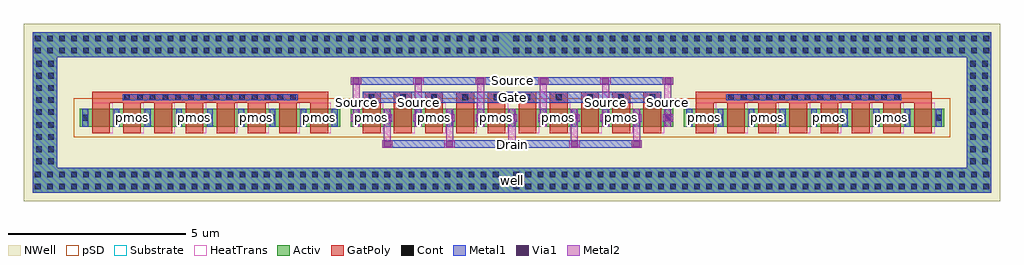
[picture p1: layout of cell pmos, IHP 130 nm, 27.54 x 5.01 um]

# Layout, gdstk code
import gdstk
lib = gdstk.Library(unit=1e-6, precision=1e-09)
def R(c, l, rs):  # rectangles x0, y0, x1, y1
    for r in rs: c.add(gdstk.rectangle(r[:2], r[2:], *l))
def A(c, l, x, y, w, h, nx, ny, dx, dy):  # array of equal rectangles
    R(c, l, [(x+i*dx, y+j*dy, x+i*dx+w, y+j*dy+h) for i in range(nx) for j in range(ny)])
def P(c, l, *ps):  # polygons
    for p in ps: c.add(gdstk.Polygon(p, *l))
Activ = (1, 0)
GatPoly = (5, 0)
Cont = (6, 0)
Metal1 = (8, 0)
Metal2 = (10, 0)
pSD = (14, 0)
Via1 = (19, 0)
NWell = (31, 0)
Substrate = (40, 0)
HeatTrans = (51, 0)

pmos = lib.new_cell('pmos')
A(pmos, Activ, -7.64, 0, 1.18, 0.5, 8, 1, 0.88, 0)
A(pmos, Activ, 0, 0, 0.3, 0.3, 11, 1, 0.88, 0)
A(pmos, Activ, 9.4, 0, 1.18, 0.5, 8, 1, 0.88, 0)
R(pmos, Activ, [(-8.98,-1.865,18.08,-1.165), (-8.98,-1.165,-8.28,1.965), (17.38,-1.165,18.08,1.965), (-7.64,0,-7.34,0.3), (-6.76,0,-6.46,0.3), (-6.76,0,-6.46,0.3), (-5.88,0,-5.58,0.3), (-5.88,0,-5.58,0.3), (-5,0,-4.7,0.3), (-5,0,-4.7,0.3), (-4.12,0,-3.82,0.3), (-4.12,0,-3.82,0.3), (-3.24,0,-2.94,0.3), (-3.24,0,-2.94,0.3), (-2.36,0,-2.06,0.3), (-2.36,0,-2.06,0.3), (-1.48,0,-1.18,0.3), (-1.48,0,-1.18,0.3), (-0.6,0,-0.3,0.3), (0,0,9.1,0.5), (9.4,0,9.7,0.3), (10.28,0,10.58,0.3), (10.28,0,10.58,0.3), (11.16,0,11.46,0.3), (11.16,0,11.46,0.3), (12.04,0,12.34,0.3), (12.04,0,12.34,0.3), (12.92,0,13.22,0.3), (12.92,0,13.22,0.3), (13.8,0,14.1,0.3), (13.8,0,14.1,0.3), (14.68,0,14.98,0.3), (14.68,0,14.98,0.3), (15.56,0,15.86,0.3), (15.56,0,15.86,0.3), (16.44,0,16.74,0.3)])
P(pmos, Activ, [(-8.98,-1.865),(-8.98,1.965),(-8.28,1.965),(-8.28,-1.165),(17.38,-1.165),(17.38,1.965),(-8.98,1.965),(-8.98,2.665),(18.08,2.665),(18.08,-1.865)])
A(pmos, GatPoly, -7.3, -0.18, 0.5, 0.86, 8, 1, 0.88, 0)
A(pmos, GatPoly, 0.34, -0.18, 0.5, 0.86, 10, 1, 0.88, 0)
A(pmos, GatPoly, 9.74, -0.18, 0.5, 0.86, 8, 1, 0.88, 0)
A(pmos, GatPoly, 0.34, 0.68, 0.5, 0.3, 10, 1, 0.88, 0)
R(pmos, GatPoly, [(-7.3,0.68,-0.64,0.98), (-6.63,0.68,-1.31,0.98), (9.74,0.68,16.4,0.98), (10.41,0.68,15.73,0.98)])
A(pmos, Cont, -8.91, -1.765, 0.16, 0.16, 39, 2, 0.34, 0.34)
A(pmos, Cont, 4.59, -1.765, 0.16, 0.16, 40, 2, 0.34, 0.34)
A(pmos, Cont, -8.88, -1.055, 0.16, 0.16, 1, 4, 0, 0.34)
A(pmos, Cont, -8.54, -1.055, 0.16, 0.16, 1, 4, 0, 0.34)
A(pmos, Cont, 17.48, -1.055, 0.16, 0.16, 1, 4, 0, 0.34)
A(pmos, Cont, 17.82, -1.055, 0.16, 0.16, 1, 4, 0, 0.34)
A(pmos, Cont, 0.07, 0.17, 0.16, 0.16, 11, 1, 0.88, 0)
A(pmos, Cont, -8.88, 0.335, 0.16, 0.16, 1, 5, 0, 0.34)
A(pmos, Cont, -8.54, 0.335, 0.16, 0.16, 1, 5, 0, 0.34)
A(pmos, Cont, 17.48, 0.335, 0.16, 0.16, 1, 5, 0, 0.34)
A(pmos, Cont, 17.82, 0.335, 0.16, 0.16, 1, 5, 0, 0.34)
A(pmos, Cont, -6.39, 0.75, 0.16, 0.16, 14, 1, 0.36, 0)
A(pmos, Cont, 0.51, 0.75, 0.16, 0.16, 10, 1, 0.88, 0)
A(pmos, Cont, 10.65, 0.75, 0.16, 0.16, 14, 1, 0.36, 0)
A(pmos, Cont, -8.91, 2.065, 0.16, 0.16, 39, 2, 0.34, 0.34)
A(pmos, Cont, 4.59, 2.065, 0.16, 0.16, 40, 2, 0.34, 0.34)
R(pmos, Cont, [(-7.57,0.17,-7.41,0.33), (-6.69,0.17,-6.53,0.33), (-6.69,0.17,-6.53,0.33), (-5.81,0.17,-5.65,0.33), (-5.81,0.17,-5.65,0.33), (-4.93,0.17,-4.77,0.33), (-4.93,0.17,-4.77,0.33), (-4.05,0.17,-3.89,0.33), (-4.05,0.17,-3.89,0.33), (-3.17,0.17,-3.01,0.33), (-3.17,0.17,-3.01,0.33), (-2.29,0.17,-2.13,0.33), (-2.29,0.17,-2.13,0.33), (-1.41,0.17,-1.25,0.33), (-1.41,0.17,-1.25,0.33), (-0.53,0.17,-0.37,0.33), (9.47,0.17,9.63,0.33), (10.35,0.17,10.51,0.33), (10.35,0.17,10.51,0.33), (11.23,0.17,11.39,0.33), (11.23,0.17,11.39,0.33), (12.11,0.17,12.27,0.33), (12.11,0.17,12.27,0.33), (12.99,0.17,13.15,0.33), (12.99,0.17,13.15,0.33), (13.87,0.17,14.03,0.33), (13.87,0.17,14.03,0.33), (14.75,0.17,14.91,0.33), (14.75,0.17,14.91,0.33), (15.63,0.17,15.79,0.33), (15.63,0.17,15.79,0.33), (16.51,0.17,16.67,0.33)])
A(pmos, Metal1, 0.885, -0.595, 0.29, 0.21, 5, 1, 1.76, 0)
A(pmos, Metal1, 0.07, 0, 0.16, 0.5, 11, 1, 0.88, 0)
A(pmos, Metal1, 0.005, 0.145, 0.29, 0.21, 11, 1, 0.88, 0)
A(pmos, Metal1, 0.46, 0.75, 0.26, 0.16, 10, 1, 0.88, 0)
A(pmos, Metal1, 0.005, 1.185, 0.29, 0.21, 6, 1, 1.76, 0)
R(pmos, Metal1, [(-8.98,-1.865,18.08,-1.165), (-8.98,-1.165,-8.28,1.965), (17.38,-1.165,18.08,1.965), (0.93,-0.59,8.17,-0.39), (-7.57,0,-7.41,0.5), (-6.69,0,-6.53,0.5), (-6.69,0,-6.53,0.5), (-5.81,0,-5.65,0.5), (-5.81,0,-5.65,0.5), (-4.93,0,-4.77,0.5), (-4.93,0,-4.77,0.5), (-4.05,0,-3.89,0.5), (-4.05,0,-3.89,0.5), (-3.17,0,-3.01,0.5), (-3.17,0,-3.01,0.5), (-2.29,0,-2.13,0.5), (-2.29,0,-2.13,0.5), (-1.41,0,-1.25,0.5), (-1.41,0,-1.25,0.5), (-0.53,0,-0.37,0.5), (9.47,0,9.63,0.5), (10.35,0,10.51,0.5), (10.35,0,10.51,0.5), (11.23,0,11.39,0.5), (11.23,0,11.39,0.5), (12.11,0,12.27,0.5), (12.11,0,12.27,0.5), (12.99,0,13.15,0.5), (12.99,0,13.15,0.5), (13.87,0,14.03,0.5), (13.87,0,14.03,0.5), (14.75,0,14.91,0.5), (14.75,0,14.91,0.5), (15.63,0,15.79,0.5), (15.63,0,15.79,0.5), (16.51,0,16.67,0.5), (0.34,0.68,8.76,0.98), (-6.44,0.75,-1.5,0.91), (10.6,0.75,15.54,0.91), (0.05,1.19,9.05,1.39), (-8.98,1.965,18.08,2.665)])
A(pmos, Metal2, 0.885, -0.59, 0.29, 0.2, 5, 1, 1.76, 0)
A(pmos, Metal2, 0.93, -0.59, 0.2, 1.09, 5, 1, 1.76, 0)
A(pmos, Metal2, 0.05, 0, 0.2, 1.39, 6, 1, 1.76, 0)
A(pmos, Metal2, 0.005, 0.15, 0.29, 0.2, 11, 1, 0.88, 0)
A(pmos, Metal2, 0.005, 1.19, 0.29, 0.2, 6, 1, 1.76, 0)
A(pmos, pSD, -7.82, -0.3, 1.54, 1.1, 8, 1, 0.88, 0)
A(pmos, pSD, 9.22, -0.3, 1.54, 1.1, 8, 1, 0.88, 0)
R(pmos, pSD, [(-0.18,-0.3,9.28,0.8)])
A(pmos, Via1, 0.935, -0.585, 0.19, 0.19, 5, 1, 1.76, 0)
A(pmos, Via1, 0.055, 0.155, 0.19, 0.19, 11, 1, 0.88, 0)
A(pmos, Via1, 0.055, 1.195, 0.19, 0.19, 6, 1, 1.76, 0)
A(pmos, NWell, -7.95, -0.31, 1.8, 1.12, 8, 1, 0.88, 0)
A(pmos, NWell, 9.09, -0.31, 1.8, 1.12, 8, 1, 0.88, 0)
R(pmos, NWell, [(-9.22,-2.105,18.32,2.905), (-0.31,-0.31,9.41,0.81)])
R(pmos, Substrate, [(8.8,0,9.1,0.3)])
A(pmos, HeatTrans, -7.3, -0.18, 0.58, 0.86, 8, 1, 0.88, 0)
A(pmos, HeatTrans, 0.34, -0.18, 0.58, 0.86, 10, 1, 0.88, 0)
A(pmos, HeatTrans, 9.74, -0.18, 0.58, 0.86, 8, 1, 0.88, 0)
pmos.add(gdstk.Label('Source', (4.55,1.29), layer=8, texttype=0))
pmos.add(gdstk.Label('Drain', (4.55,-0.49), layer=8, texttype=0))
pmos.add(gdstk.Label('Gate', (4.55,0.83), layer=8, texttype=0))
pmos.add(gdstk.Label('pmos', (0.59,0.25), layer=63, texttype=0))
pmos.add(gdstk.Label('pmos', (1.47,0.25), layer=63, texttype=0))
pmos.add(gdstk.Label('pmos', (2.35,0.25), layer=63, texttype=0))
pmos.add(gdstk.Label('pmos', (3.23,0.25), layer=63, texttype=0))
pmos.add(gdstk.Label('pmos', (4.11,0.25), layer=63, texttype=0))
pmos.add(gdstk.Label('pmos', (4.99,0.25), layer=63, texttype=0))
pmos.add(gdstk.Label('pmos', (5.87,0.25), layer=63, texttype=0))
pmos.add(gdstk.Label('pmos', (6.75,0.25), layer=63, texttype=0))
pmos.add(gdstk.Label('pmos', (7.63,0.25), layer=63, texttype=0))
pmos.add(gdstk.Label('pmos', (8.51,0.25), layer=63, texttype=0))
pmos.add(gdstk.Label('pmos', (-0.89,0.25), layer=63, texttype=0))
pmos.add(gdstk.Label('pmos', (-1.77,0.25), layer=63, texttype=0))
pmos.add(gdstk.Label('pmos', (-2.65,0.25), layer=63, texttype=0))
pmos.add(gdstk.Label('pmos', (-3.53,0.25), layer=63, texttype=0))
pmos.add(gdstk.Label('pmos', (-4.41,0.25), layer=63, texttype=0))
pmos.add(gdstk.Label('pmos', (-5.29,0.25), layer=63, texttype=0))
pmos.add(gdstk.Label('pmos', (-6.17,0.25), layer=63, texttype=0))
pmos.add(gdstk.Label('pmos', (-7.05,0.25), layer=63, texttype=0))
pmos.add(gdstk.Label('pmos', (9.99,0.25), layer=63, texttype=0))
pmos.add(gdstk.Label('pmos', (10.87,0.25), layer=63, texttype=0))
pmos.add(gdstk.Label('pmos', (11.75,0.25), layer=63, texttype=0))
pmos.add(gdstk.Label('pmos', (12.63,0.25), layer=63, texttype=0))
pmos.add(gdstk.Label('pmos', (13.51,0.25), layer=63, texttype=0))
pmos.add(gdstk.Label('pmos', (14.39,0.25), layer=63, texttype=0))
pmos.add(gdstk.Label('pmos', (15.27,0.25), layer=63, texttype=0))
pmos.add(gdstk.Label('pmos', (16.15,0.25), layer=63, texttype=0))
pmos.add(gdstk.Label('well', (4.55,-1.515), layer=63, texttype=0))
pmos.add(gdstk.Label('Drain', (1.03,-0.045), layer=10, texttype=0))
pmos.add(gdstk.Label('Drain', (2.79,-0.045), layer=10, texttype=0))
pmos.add(gdstk.Label('Drain', (4.55,-0.045), layer=10, texttype=0))
pmos.add(gdstk.Label('Drain', (6.31,-0.045), layer=10, texttype=0))
pmos.add(gdstk.Label('Drain', (8.07,-0.045), layer=10, texttype=0))
pmos.add(gdstk.Label('Source', (0.15,0.695), layer=10, texttype=0))
pmos.add(gdstk.Label('Source', (1.91,0.695), layer=10, texttype=0))
pmos.add(gdstk.Label('Source', (3.67,0.695), layer=10, texttype=0))
pmos.add(gdstk.Label('Source', (5.43,0.695), layer=10, texttype=0))
pmos.add(gdstk.Label('Source', (7.19,0.695), layer=10, texttype=0))
pmos.add(gdstk.Label('Source', (8.95,0.695), layer=10, texttype=0))
pmos.add(gdstk.Label('pmos', (0.63,0.25), layer=51, texttype=0))
pmos.add(gdstk.Label('pmos', (1.51,0.25), layer=51, texttype=0))
pmos.add(gdstk.Label('pmos', (2.39,0.25), layer=51, texttype=0))
pmos.add(gdstk.Label('pmos', (3.27,0.25), layer=51, texttype=0))
pmos.add(gdstk.Label('pmos', (4.15,0.25), layer=51, texttype=0))
pmos.add(gdstk.Label('pmos', (5.03,0.25), layer=51, texttype=0))
pmos.add(gdstk.Label('pmos', (5.91,0.25), layer=51, texttype=0))
pmos.add(gdstk.Label('pmos', (6.79,0.25), layer=51, texttype=0))
pmos.add(gdstk.Label('pmos', (7.67,0.25), layer=51, texttype=0))
pmos.add(gdstk.Label('pmos', (8.55,0.25), layer=51, texttype=0))
pmos.add(gdstk.Label('pmos', (-0.85,0.25), layer=51, texttype=0))
pmos.add(gdstk.Label('pmos', (-1.73,0.25), layer=51, texttype=0))
pmos.add(gdstk.Label('pmos', (-2.61,0.25), layer=51, texttype=0))
pmos.add(gdstk.Label('pmos', (-3.49,0.25), layer=51, texttype=0))
pmos.add(gdstk.Label('pmos', (-4.37,0.25), layer=51, texttype=0))
pmos.add(gdstk.Label('pmos', (-5.25,0.25), layer=51, texttype=0))
pmos.add(gdstk.Label('pmos', (-6.13,0.25), layer=51, texttype=0))
pmos.add(gdstk.Label('pmos', (-7.01,0.25), layer=51, texttype=0))
pmos.add(gdstk.Label('pmos', (10.03,0.25), layer=51, texttype=0))
pmos.add(gdstk.Label('pmos', (10.91,0.25), layer=51, texttype=0))
pmos.add(gdstk.Label('pmos', (11.79,0.25), layer=51, texttype=0))
pmos.add(gdstk.Label('pmos', (12.67,0.25), layer=51, texttype=0))
pmos.add(gdstk.Label('pmos', (13.55,0.25), layer=51, texttype=0))
pmos.add(gdstk.Label('pmos', (14.43,0.25), layer=51, texttype=0))
pmos.add(gdstk.Label('pmos', (15.31,0.25), layer=51, texttype=0))
pmos.add(gdstk.Label('pmos', (16.19,0.25), layer=51, texttype=0))

lib.write_gds('pmos.gds')
